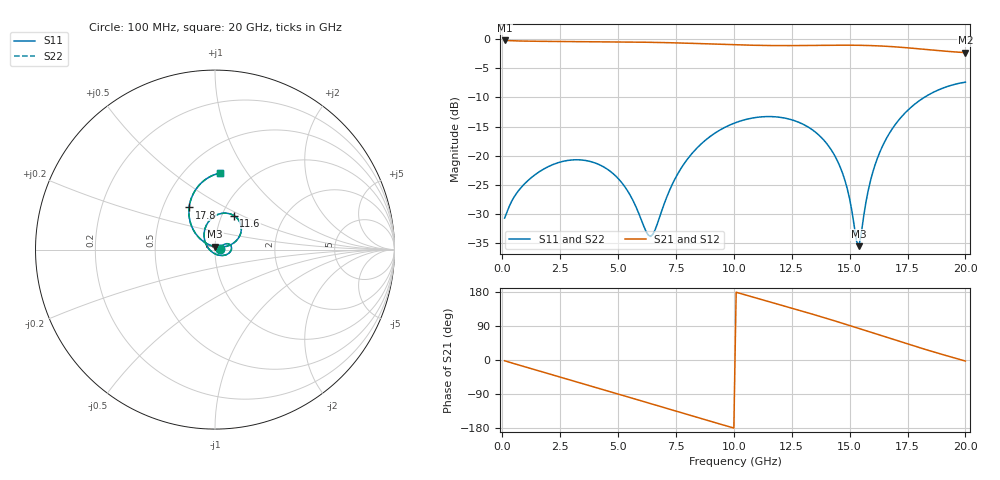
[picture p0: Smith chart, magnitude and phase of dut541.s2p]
! Touchstone file exported from HFSS 2026.1.0
!  File:  C:/ffzhzh/LocalFiles/Ansys_Project_Files/temp_train_TSV_RDL_541_1783113454_37876.aedt
!  Generated:  05:29:19 AM Jul  4, 2026
!  Design:  TSV_RDL
!  Project:  temp_train_TSV_RDL_541_1783113454_37876
! Variables:
!  h_bsmrdl = 3.14um
!  h_ox = 20um
!  h_rdl = 5um
!  h_sub = 83.69um
!  h_tmrdl = 3.42um
!  h_tsv = 83.69um
!  h_via = 3um
!  l_bsmrdl = 677.08um
!  l_sub = 5143.58um
!  l_tmrdl = 647.11um
!  m_sub = 200um
!  pitch = 30.72um
!  r_tsv = 13.65um
!  s_tmrdl = 10um
!  w_bsmrdl = 27.52um
!  w_sub = 500um
!  w_tmrdl = 13.78um
!  x_tsv_center1 = 654um
!  x_tsv_center2 = 1358.6um
!  x_tsv_center3 = 2019.49um
!  x_tsv_center4 = 2724.09um
!  x_tsv_center5 = 3384.98um
!  x_tsv_center6 = 4089.58um
# GHz S MA R 50.000000
! Terminal data exported
! Port[1] = TM_RDL1_1_T1
! Port[2] = TM_RDL5_1_T1
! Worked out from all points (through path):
!   200 points, 100 MHz to 20 GHz, reference 50 ohm
!   highest |S21| = -0.25 dB at 100 MHz (marker M1); lowest = -2.3 dB at 20 GHz (marker M2)
!   group delay of S21, straight-line fit = 50.2 ps
!   lowest |S11| = -35.5 dB at 15.4 GHz (marker M3), VSWR 1.03, Z = 50 + j1.69 ohm
!   |S11| at or under -10 dB: start of sweep to 18.22 GHz
!   |S22| runs from -35.7 to -7.4 dB; largest |S21 - S12| = 1.6e-14
!   S11 on the Smith chart (normalised r, x): 100 MHz: 1.06, +0.01; 11.6 GHz: 1.14, +0.45; 17.8 GHz: 0.68, +0.34; 20 GHz: 0.73, +0.76
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0.1  0.02933 11.9  0.9715 -2.0  0.9715 -2.0  0.02933 11.9
! Gamma 0 0 0 0
! Port Impedance 50 0 50 0
0.6  0.04729 28.4  0.963 -11.2  0.963 -11.2  0.04729 28.4
1.4  0.0686 28.1  0.9564 -25.5  0.9564 -25.5  0.0686 28.1
3.5  0.09181 2.4  0.9479 -62.9  0.9479 -62.9  0.09182 2.4
5.1  0.06086 -31.1  0.9431 -91.6  0.9431 -91.6  0.06087 -31.1
6.3  0.021 -109.2  0.9372 -113.3  0.9372 -113.3  0.02101 -109.2
6.5  0.02123 -141.5  0.9358 -116.9  0.9358 -116.9  0.02123 -141.5
6.8  0.03014 -178.5  0.9334 -122.3  0.9334 -122.3  0.03014 -178.5
7.4  0.06021 148.0  0.9275 -133.2  0.9275 -133.2  0.0602 148.0
8.1  0.09955 127.7  0.919 -145.8  0.919 -145.8  0.09955 127.7
10.1  0.1931 87.2  0.8916 178.7  0.8916 178.7  0.1931 87.2
11.6  0.2167 61.1  0.879 152.7  0.879 152.7  0.2167 61.1
13.4  0.1665 31.5  0.8807 120.9  0.8807 120.9  0.1665 31.4
14.1  0.1207 21.3  0.8838 108.0  0.8838 108.0  0.1207 21.1
14.6  0.0795 16.3  0.8851 98.7  0.8851 98.7  0.0795 16.1
14.9  0.05211 17.4  0.8852 92.9  0.8852 92.9  0.05207 17.0
15.3  0.0186 54.9  0.8839 85.2  0.8839 85.2  0.01831 54.2
15.4  0.01686 88.0  0.8833 83.3  0.8833 83.3  0.01649 88.0
15.9  0.06114 144.2  0.8784 73.5  0.8784 73.5  0.06095 144.5
16.7  0.1538 138.8  0.8634 57.8  0.8634 57.8  0.1536 139.0
17.8  0.2756 121.5  0.8307 36.7  0.8307 36.7  0.2755 121.6
20  0.4269 86.2  0.7651 -2.8  0.7651 -2.8  0.4268 86.3
